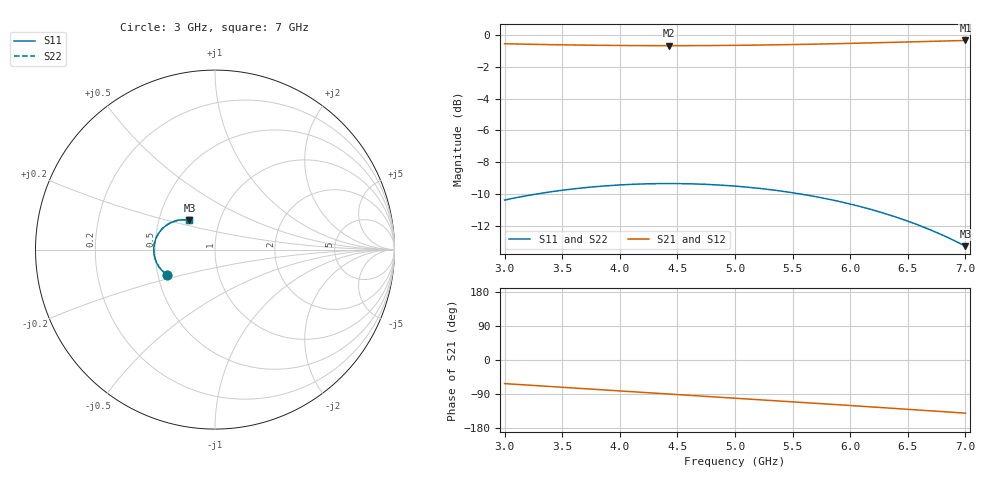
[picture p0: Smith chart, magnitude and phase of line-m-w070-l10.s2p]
! yapnr rf: line-osh-m-w0p70-l10-m-eq, footprint re-simulated (optimization grid)
! spec sha256 c2e0d767e8492821983a6f2e8a58ab08d845ee94355b6cca7ee6e9c1f13239da
! 2 ports renormalized to 50 ohm, e^(+jwt) convention
# GHz S RI R 50
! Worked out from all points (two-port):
!   161 points, 3 GHz to 7 GHz, reference 50 ohm
!   highest |S21| = -0.36 dB at 7 GHz (marker M1); lowest = -0.7 dB at 4.425 GHz (marker M2)
!   |S21| within 3 dB of the highest: start of sweep to end of sweep
!   lowest |S11| = -13.3 dB at 7 GHz (marker M3), VSWR 1.55, Z = 35.8 + j12.3 ohm
!   |S11| at or under -10 dB: start of sweep to 3.273 GHz; 5.575 GHz to end of sweep
!   |S22| runs from -13.3 to -9.3 dB; largest |S21 - S12| = 0
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3  -0.2691 -0.1391  0.4355 -0.8299  0.4355 -0.8299  -0.2691 -0.1391
3.15  -0.2827 -0.1287  0.3915 -0.8489  0.3915 -0.8489  -0.2827 -0.1287
3.325  -0.297 -0.1148  0.3396 -0.8682  0.3396 -0.8682  -0.297 -0.1148
3.5  -0.3096 -0.0995  0.2871 -0.8846  0.2871 -0.8846  -0.3096 -0.0995
3.675  -0.3202 -0.0828  0.2341 -0.8981  0.2341 -0.8981  -0.3202 -0.0828
4  -0.3343 -0.0493  0.135 -0.9157  0.135 -0.9157  -0.3343 -0.0493
4.175  -0.3388 -0.0303  0.0813 -0.9212  0.0813 -0.9212  -0.3388 -0.0303
4.35  -0.341 -0.0108  0.0276 -0.924  0.0276 -0.924  -0.341 -0.0108
4.425  -0.3413 -0.00247  0.00452 -0.9243  0.00452 -0.9243  -0.3413 -0.00247
4.725  -0.3382 0.0308  -0.0877 -0.9208  -0.0877 -0.9208  -0.3382 0.0308
5  -0.3296 0.0604  -0.172 -0.9105  -0.172 -0.9105  -0.3296 0.0604
5.175  -0.3213 0.0782  -0.2254 -0.9003  -0.2254 -0.9003  -0.3213 0.0782
5.35  -0.3109 0.095  -0.2786 -0.8873  -0.2786 -0.8873  -0.3109 0.095
5.675  -0.2866 0.1226  -0.3761 -0.8554  -0.3761 -0.8554  -0.2866 0.1226
5.85  -0.271 0.1352  -0.4277 -0.8339  -0.4277 -0.8339  -0.271 0.1352
6.025  -0.2539 0.1459  -0.4786 -0.8093  -0.4786 -0.8093  -0.2539 0.1459
6.2  -0.2356 0.1545  -0.5285 -0.7816  -0.5285 -0.7816  -0.2356 0.1545
6.35  -0.2191 0.1601  -0.5704 -0.7553  -0.5704 -0.7553  -0.2191 0.1601
6.525  -0.199 0.1645  -0.6179 -0.7216  -0.6179 -0.7216  -0.199 0.1645
6.7  -0.1784 0.1663  -0.6638 -0.6847  -0.6638 -0.6847  -0.1784 0.1663
6.85  -0.1605 0.1659  -0.7017 -0.6504  -0.7017 -0.6504  -0.1605 0.1659
7  -0.1427 0.1635  -0.738 -0.6138  -0.738 -0.6138  -0.1427 0.1635
